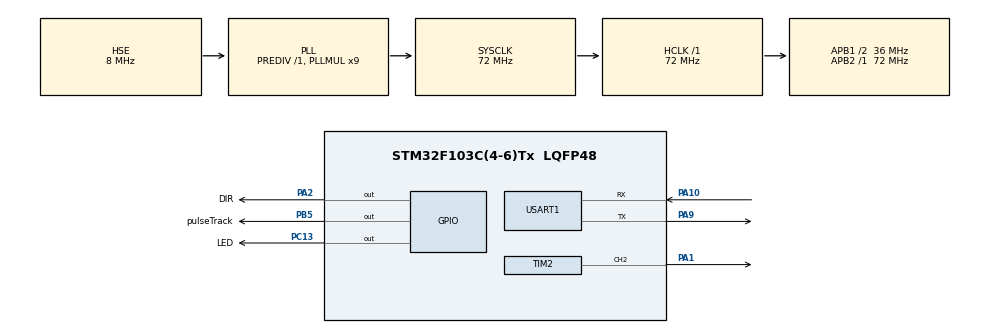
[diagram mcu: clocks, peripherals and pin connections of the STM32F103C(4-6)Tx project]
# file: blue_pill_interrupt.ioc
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Mcu.Family=STM32F1
Mcu.Name=STM32F103C(4-6)Tx
Mcu.Package=LQFP48
NVIC.PriorityGroup=NVIC_PRIORITYGROUP_4
NVIC.TIM2_IRQn=true\:0\:0\:false\:false\:true\:true\:true\:true
NVIC.USART1_IRQn=true\:0\:0\:false\:false\:true\:true\:true\:true
PA1.Signal=S_TIM2_CH2
PA10.Mode=Asynchronous
PA10.Signal=USART1_RX
PA13.Mode=Serial_Wire
PA13.Signal=SYS_JTMS-SWDIO
PA14.Mode=Serial_Wire
PA14.Signal=SYS_JTCK-SWCLK
PA2.GPIO_Label=DIR
PA2.Signal=GPIO_Output
PA9.Mode=Asynchronous
PA9.Signal=USART1_TX
PB5.GPIO_Label=pulseTrack
PB5.Signal=GPIO_Output
PC13-TAMPER-RTC.GPIO_Label=LED
PC13-TAMPER-RTC.Signal=GPIO_Output
PD0-OSC_IN.Mode=HSE-External-Oscillator
PD0-OSC_IN.Signal=RCC_OSC_IN
PD1-OSC_OUT.Mode=HSE-External-Oscillator
PD1-OSC_OUT.Signal=RCC_OSC_OUT
ProjectManager.HeapSize=0x200
ProjectManager.StackSize=0x400
ProjectManager.TargetToolchain=STM32CubeIDE
RCC.AHBFreq_Value=72000000
RCC.APB1CLKDivider=RCC_HCLK_DIV2
RCC.APB1Freq_Value=36000000
RCC.APB1TimFreq_Value=72000000
RCC.APB2Freq_Value=72000000
RCC.APB2TimFreq_Value=72000000
RCC.HCLKFreq_Value=72000000
RCC.PLLMUL=RCC_PLL_MUL9
RCC.PLLSourceVirtual=RCC_PLLSOURCE_HSE
RCC.SYSCLKFreq_VALUE=72000000
RCC.SYSCLKSource=RCC_SYSCLKSOURCE_PLLCLK
RCC.USBFreq_Value=72000000
SH.S_TIM2_CH2.0=TIM2_CH2,PWM Generation2 CH2
TIM2.AutoReloadPreload=TIM_AUTORELOAD_PRELOAD_ENABLE
TIM2.Channel-PWM\ Generation2\ CH2=TIM_CHANNEL_2
TIM2.Period=1250-1
TIM2.Prescaler=72-1
TIM2.Pulse-PWM\ Generation2\ CH2=500
USART1.VirtualMode=VM_ASYNC
VP_TIM2_VS_ClockSourceINT.Mode=Internal
board=custom

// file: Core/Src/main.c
/* USER CODE BEGIN Header */
/**
 ******************************************************************************
 * @file           : main.c
 * @brief          : Main program body
 ******************************************************************************
 * @attention
 *
 * Copyright (c) 2023 STMicroelectronics.
 * All rights reserved.
 *
 * This software is licensed under terms that can be found in the LICENSE file
 * in the root directory of this software component.
 * If no LICENSE file comes with this software, it is provided AS-IS.
 *
 ******************************************************************************
 */
/* USER CODE END Header */
#include "main.h"

/* USER CODE BEGIN Includes */
#include "main.h"
#include "stm32f1xx.h"
#include <stdio.h>
#include <stdlib.h>
#include "stepperControl.h"
#include "serialFromPC.h"
/* USER CODE END Includes */

TIM_HandleTypeDef htim2;

UART_HandleTypeDef huart1;

/* USER CODE BEGIN PV */
TIM_HandleTypeDef htim2;
stepper motor;

//note: buffer must be declared in main
uint8_t rxBuffer[16]; //allocate mem for 16 chars

Instruction nextInstr;
int currentPos = 0;
int instructionCounter = 0;

uint8_t uartRecievedFlag = 0;

/* USER CODE END PV */

void SystemClock_Config(void);
static void MX_GPIO_Init(void);
static void MX_TIM2_Init(void);
static void MX_USART1_UART_Init(void);

/* USER CODE BEGIN 0 */

void HAL_UART_RxCpltCallback(UART_HandleTypeDef *huart)
{
	//NOTE: do not put HAL_UART_Transmit here because it is blocking

	//set flag
	uartRecievedFlag = 1;
}

/* USER CODE END 0 */

int main(void)
{
  /* USER CODE BEGIN 1 */

	char direction;
	int relativePos;

	/*
	int instr[] = { 50, -50, 50, -50, 50, -50, 50, -50, 50 };
	int i = 0;
	*/

  /* USER CODE END 1 */

  /* MCU Configuration--------------------------------------------------------*/

  /* Reset of all peripherals, Initializes the Flash interface and the Systick. */
  HAL_Init();

  /* USER CODE BEGIN Init */
	InitSerialFromPC(&huart1,rxBuffer);

  /* USER CODE END Init */

  /* Configure the system clock */
  SystemClock_Config();

  /* Initialize all configured peripherals */
  MX_GPIO_Init();
  MX_TIM2_Init();
  MX_USART1_UART_Init();
  /* USER CODE BEGIN 2 */
	uint8_t test[] = "---DEVICE RESET---\n\r";
	HAL_UART_Transmit(&huart1, test, sizeof(test), 10); //

	//enable update interrupts
	__HAL_TIM_ENABLE_IT(&htim2, TIM_IT_UPDATE);
	HAL_UART_Receive_IT(&huart1, rxBuffer, 6); //receive 6 bytes
	//initialize stepper
	initStepper(&motor, &htim2, TIM_CHANNEL_2, DIR_GPIO_Port, DIR_Pin, 800);
  /* USER CODE END 2 */

  /* Infinite loop */
  /* USER CODE BEGIN WHILE */
	while (1) {

		//check if data has been received
		if(uartRecievedFlag){

			//retrieve instructions
			ParseInstructions(rxBuffer, &nextInstr);
			//enable receive interrupt
			uartRecievedFlag = 0;
			HAL_UART_Receive_IT(&huart1, rxBuffer, 6);
			//send ack
			SendSerialChar('a');

		}

		/*
		//if motor is waiting for an instruction
		if(0){
		//if (motor.Status == Stopped && i < 8) {

			//find relative direction and position
			//update current position
			relativePos = instr[i] - currentPos;
			//relativePos = instr[i];
			currentPos = instr[i];
			if (relativePos > 0) {
				direction = 1;
			} else {
				direction = 0;
				relativePos = relativePos * -1; //switch sign so that it is positive
			}
			//TODO: account for relativePos = 0

			//set target for motor
			setTarget(&motor, relativePos, 0);
			i++;
			SendSerialInt(relativePos);
			SendSerialInt(direction);
			//add delay for testing
			HAL_Delay(2000);

		}
		*/
	}
    /* USER CODE END WHILE */

}

void SystemClock_Config(void)
{
  RCC_OscInitTypeDef RCC_OscInitStruct = {0};
  RCC_ClkInitTypeDef RCC_ClkInitStruct = {0};

  /** Initializes the RCC Oscillators according to the specified parameters
  * in the RCC_OscInitTypeDef structure.
  */
  RCC_OscInitStruct.OscillatorType = RCC_OSCILLATORTYPE_HSE;
  RCC_OscInitStruct.HSEState = RCC_HSE_ON;
  RCC_OscInitStruct.HSEPredivValue = RCC_HSE_PREDIV_DIV1;
  RCC_OscInitStruct.HSIState = RCC_HSI_ON;
  RCC_OscInitStruct.PLL.PLLState = RCC_PLL_ON;
  RCC_OscInitStruct.PLL.PLLSource = RCC_PLLSOURCE_HSE;
  RCC_OscInitStruct.PLL.PLLMUL = RCC_PLL_MUL9;
  if (HAL_RCC_OscConfig(&RCC_OscInitStruct) != HAL_OK)
  {
    Error_Handler();
  }

  /** Initializes the CPU, AHB and APB buses clocks
  */
  RCC_ClkInitStruct.ClockType = RCC_CLOCKTYPE_HCLK|RCC_CLOCKTYPE_SYSCLK
                              |RCC_CLOCKTYPE_PCLK1|RCC_CLOCKTYPE_PCLK2;
  RCC_ClkInitStruct.SYSCLKSource = RCC_SYSCLKSOURCE_PLLCLK;
  RCC_ClkInitStruct.AHBCLKDivider = RCC_SYSCLK_DIV1;
  RCC_ClkInitStruct.APB1CLKDivider = RCC_HCLK_DIV2;
  RCC_ClkInitStruct.APB2CLKDivider = RCC_HCLK_DIV1;

  if (HAL_RCC_ClockConfig(&RCC_ClkInitStruct, FLASH_LATENCY_2) != HAL_OK)
  {
    Error_Handler();
  }
}

static void MX_TIM2_Init(void)
{

  TIM_ClockConfigTypeDef sClockSourceConfig = {0};
  TIM_MasterConfigTypeDef sMasterConfig = {0};
  TIM_OC_InitTypeDef sConfigOC = {0};

  htim2.Instance = TIM2;
  htim2.Init.Prescaler = 72-1;
  htim2.Init.CounterMode = TIM_COUNTERMODE_UP;
  htim2.Init.Period = 1250-1;
  htim2.Init.ClockDivision = TIM_CLOCKDIVISION_DIV1;
  htim2.Init.AutoReloadPreload = TIM_AUTORELOAD_PRELOAD_ENABLE;
  if (HAL_TIM_Base_Init(&htim2) != HAL_OK)
  {
    Error_Handler();
  }
  sClockSourceConfig.ClockSource = TIM_CLOCKSOURCE_INTERNAL;
  if (HAL_TIM_ConfigClockSource(&htim2, &sClockSourceConfig) != HAL_OK)
  {
    Error_Handler();
  }
  if (HAL_TIM_PWM_Init(&htim2) != HAL_OK)
  {
    Error_Handler();
  }
  sMasterConfig.MasterOutputTrigger = TIM_TRGO_RESET;
  sMasterConfig.MasterSlaveMode = TIM_MASTERSLAVEMODE_DISABLE;
  if (HAL_TIMEx_MasterConfigSynchronization(&htim2, &sMasterConfig) != HAL_OK)
  {
    Error_Handler();
  }
  sConfigOC.OCMode = TIM_OCMODE_PWM1;
  sConfigOC.Pulse = 500;
  sConfigOC.OCPolarity = TIM_OCPOLARITY_HIGH;
  sConfigOC.OCFastMode = TIM_OCFAST_DISABLE;
  if (HAL_TIM_PWM_ConfigChannel(&htim2, &sConfigOC, TIM_CHANNEL_2) != HAL_OK)
  {
    Error_Handler();
  }
  HAL_TIM_MspPostInit(&htim2);

}

static void MX_USART1_UART_Init(void)
{

  huart1.Instance = USART1;
  huart1.Init.BaudRate = 115200;
  huart1.Init.WordLength = UART_WORDLENGTH_8B;
  huart1.Init.StopBits = UART_STOPBITS_1;
  huart1.Init.Parity = UART_PARITY_NONE;
  huart1.Init.Mode = UART_MODE_TX_RX;
  huart1.Init.HwFlowCtl = UART_HWCONTROL_NONE;
  huart1.Init.OverSampling = UART_OVERSAMPLING_16;
  if (HAL_UART_Init(&huart1) != HAL_OK)
  {
    Error_Handler();
  }

}

static void MX_GPIO_Init(void)
{
  GPIO_InitTypeDef GPIO_InitStruct = {0};

  /* GPIO Ports Clock Enable */
  __HAL_RCC_GPIOC_CLK_ENABLE();
  __HAL_RCC_GPIOD_CLK_ENABLE();
  __HAL_RCC_GPIOA_CLK_ENABLE();
  __HAL_RCC_GPIOB_CLK_ENABLE();

  /*Configure GPIO pin Output Level */
  HAL_GPIO_WritePin(LED_GPIO_Port, LED_Pin, GPIO_PIN_RESET);

  /*Configure GPIO pin Output Level */
  HAL_GPIO_WritePin(DIR_GPIO_Port, DIR_Pin, GPIO_PIN_RESET);

  /*Configure GPIO pin Output Level */
  HAL_GPIO_WritePin(pulseTrack_GPIO_Port, pulseTrack_Pin, GPIO_PIN_RESET);

  /*Configure GPIO pin : LED_Pin */
  GPIO_InitStruct.Pin = LED_Pin;
  GPIO_InitStruct.Mode = GPIO_MODE_OUTPUT_PP;
  GPIO_InitStruct.Pull = GPIO_NOPULL;
  GPIO_InitStruct.Speed = GPIO_SPEED_FREQ_LOW;
  HAL_GPIO_Init(LED_GPIO_Port, &GPIO_InitStruct);

  /*Configure GPIO pin : DIR_Pin */
  GPIO_InitStruct.Pin = DIR_Pin;
  GPIO_InitStruct.Mode = GPIO_MODE_OUTPUT_PP;
  GPIO_InitStruct.Pull = GPIO_NOPULL;
  GPIO_InitStruct.Speed = GPIO_SPEED_FREQ_LOW;
  HAL_GPIO_Init(DIR_GPIO_Port, &GPIO_InitStruct);

  /*Configure GPIO pin : pulseTrack_Pin */
  GPIO_InitStruct.Pin = pulseTrack_Pin;
  GPIO_InitStruct.Mode = GPIO_MODE_OUTPUT_PP;
  GPIO_InitStruct.Pull = GPIO_NOPULL;
  GPIO_InitStruct.Speed = GPIO_SPEED_FREQ_LOW;
  HAL_GPIO_Init(pulseTrack_GPIO_Port, &GPIO_InitStruct);

}

/* USER CODE BEGIN 4 */
void HAL_TIM_PeriodElapsedCallback(TIM_HandleTypeDef *htim) {
	if (htim == &htim2) {
		if (motor.Status == RunningForward) {
			motor.CurrentPosition++;
		} else if (motor.Status == RunningBackward) {
			motor.CurrentPosition--;
		}
		HAL_GPIO_TogglePin(pulseTrack_GPIO_Port, pulseTrack_Pin);
		if (motor.CurrentPosition == motor.TargetPosition) {
			HAL_TIM_PWM_Stop(&htim2, TIM_CHANNEL_2);
			HAL_TIM_Base_Stop(&htim2);
			motor.Status = Stopped;
		}
	}
}

/* USER CODE END 4 */

void Error_Handler(void)
{
	__disable_irq();
	while (1) {
	}
}
